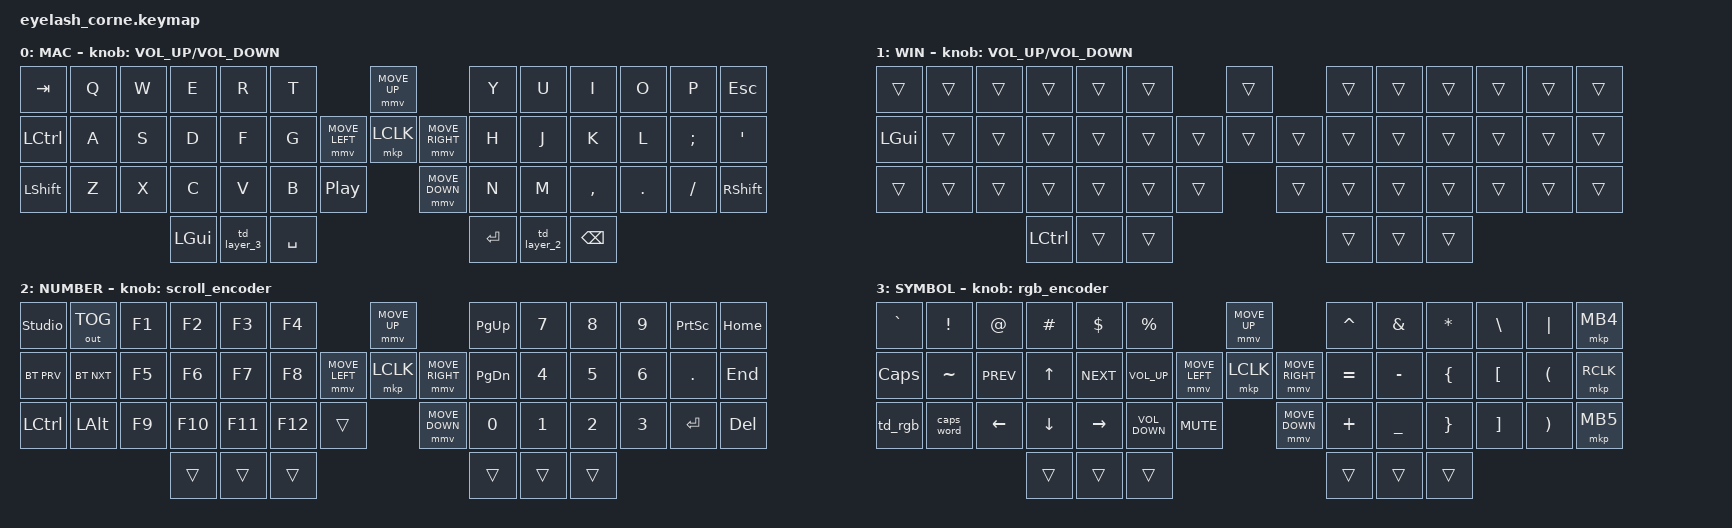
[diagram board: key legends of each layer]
#define ZMK_POINTING_DEFAULT_MOVE_VAL 1200  // 600
#define ZMK_POINTING_DEFAULT_SCRL_VAL 25   // 10

#include <input/processors.dtsi>
#include <zephyr/dt-bindings/input/input-event-codes.h>
#include <behaviors.dtsi>
#include <dt-bindings/zmk/bt.h>
#include <dt-bindings/zmk/keys.h>
#include <dt-bindings/zmk/outputs.h>
#include <dt-bindings/zmk/pointing.h>
#include <dt-bindings/zmk/rgb.h>

&mmv_input_listener { input-processors = <&zip_xy_scaler 2 1>; };

&msc_input_listener { input-processors = <&zip_scroll_scaler 2 1>; };

&msc {
    acceleration-exponent = <1>;      // 0
    time-to-max-speed-ms = <100>;       // 300
    delay-ms = <0>;                   // 0
};

&mmv {
    time-to-max-speed-ms = <500>;
    acceleration-exponent = <1>;
    trigger-period-ms = <16>;
};

/ {
    behaviors {
        td_rgb: td_rgb {
            compatible = "zmk,behavior-tap-dance";
            display-name = "Shift/Caps Lock Tap Dance";
            #binding-cells = <0>;
            bindings = <&rgb_ug RGB_TOG>, <&rgb_ug RGB_EFF>;

            label = "TD_RGB";
            tapping-term-ms = <250>;
        };

        td_layer_2: td_layer_2 {
            compatible = "zmk,behavior-tap-dance";
            label = "TD_LAYER_2";
            #binding-cells = <0>;
            bindings = <&mo 2>, <&tog 2>;

            tapping-term-ms = <250>;
        };

        td_layer_3: td_layer_3 {
            compatible = "zmk,behavior-tap-dance";
            label = "TD_LAYER_3";
            #binding-cells = <0>;
            bindings = <&mo 3>, <&tog 3>;

            tapping-term-ms = <250>;
        };
    };

    rgb_encoder: rgb_encoder {
        compatible = "zmk,behavior-sensor-rotate";
        #sensor-binding-cells = <0>;
        bindings = <&rgb_ug RGB_BRI>, <&rgb_ug RGB_BRD>;
    };

    scroll_encoder: scroll_encoder {
        compatible = "zmk,behavior-sensor-rotate";
        #sensor-binding-cells = <0>;
        bindings = <&msc SCRL_DOWN>, <&msc SCRL_UP>;

        tap-ms = <100>;
    };

    combos {
        compatible = "zmk,combos";

        OS-Toggle {
            bindings = <&tog 1>;
            key-positions = <46 43>;
        };

        Clear-All-BT {
            bindings = <&bt BT_CLR_ALL>;
            key-positions = <20 46>;
        };
    };

    keymap {
        compatible = "zmk,keymap";

        default_layer {
            display-name = "MAC";
            bindings = <
&kp TAB    &kp Q  &kp W  &kp E     &kp R        &kp T                                          &mmv MOVE_UP                     &kp Y      &kp U        &kp I          &kp O    &kp P     &kp ESC
&kp LCTRL  &kp A  &kp S  &kp D     &kp F        &kp G                          &mmv MOVE_LEFT  &mkp LCLK       &mmv MOVE_RIGHT  &kp H      &kp J        &kp K          &kp L    &kp SEMI  &kp SQT
&kp LSHFT  &kp Z  &kp X  &kp C     &kp V        &kp B      &kp C_PLAY_PAUSE                    &mmv MOVE_DOWN                   &kp N      &kp M        &kp COMMA      &kp DOT  &kp FSLH  &kp RIGHT_SHIFT
                         &kp LGUI  &td_layer_3  &kp SPACE                                                                       &kp ENTER  &td_layer_2  &kp BACKSPACE
            >;

            sensor-bindings = <&inc_dec_kp C_VOLUME_UP C_VOLUME_DOWN>;
        };

        win_layer {
            display-name = "WIN";
            bindings = <
&trans    &trans  &trans  &trans            &trans  &trans                    &trans          &trans  &trans  &trans  &trans  &trans  &trans
&kp LGUI  &trans  &trans  &trans            &trans  &trans            &trans  &trans  &trans  &trans  &trans  &trans  &trans  &trans  &trans
&trans    &trans  &trans  &trans            &trans  &trans  &trans            &trans          &trans  &trans  &trans  &trans  &trans  &trans
                          &kp LEFT_CONTROL  &trans  &trans                                    &trans  &trans  &trans
            >;

            sensor-bindings = <&inc_dec_kp C_VOLUME_UP C_VOLUME_DOWN>;
        };

        lower_layer {
            display-name = "NUMBER";
            bindings = <
&studio_unlock  &out OUT_TOG  &kp F1  &kp F2   &kp F3   &kp F4                             &mmv MOVE_UP                     &kp PG_UP  &kp N7  &kp N8  &kp N9  &kp PRINTSCREEN  &kp HOME
&bt BT_PRV      &bt BT_NXT    &kp F5  &kp F6   &kp F7   &kp F8             &mmv MOVE_LEFT  &mkp LCLK       &mmv MOVE_RIGHT  &kp PG_DN  &kp N4  &kp N5  &kp N6  &kp PERIOD       &kp END
&kp LCTRL       &kp LALT      &kp F9  &kp F10  &kp F11  &kp F12  &trans                    &mmv MOVE_DOWN                   &kp N0     &kp N1  &kp N2  &kp N3  &kp ENTER        &kp DEL
                                      &trans   &trans   &trans                                                              &trans     &trans  &trans
            >;

            sensor-bindings = <&scroll_encoder>;
        };

        raise_layer {
            display-name = "SYMBOL";
            bindings = <
&kp GRAVE     &kp EXCL    &kp AT      &kp HASH  &kp DOLLAR  &kp PERCENT                                      &mmv MOVE_UP                     &kp CARET  &kp AMPS   &kp ASTERISK     &kp BACKSLASH      &kp PIPE               &mkp MB4
&kp CAPSLOCK  &kp TILDE   &kp C_PREV  &kp UP    &kp C_NEXT  &kp C_VOLUME_UP                  &mmv MOVE_LEFT  &mkp LCLK       &mmv MOVE_RIGHT  &kp EQUAL  &kp MINUS  &kp LEFT_BRACE   &kp LEFT_BRACKET   &kp LEFT_PARENTHESIS   &mkp RCLK
&td_rgb       &caps_word  &kp LEFT    &kp DOWN  &kp RIGHT   &kp C_VOLUME_DOWN  &kp C_MUTE                    &mmv MOVE_DOWN                   &kp PLUS   &kp UNDER  &kp RIGHT_BRACE  &kp RIGHT_BRACKET  &kp RIGHT_PARENTHESIS  &mkp MB5
                                      &trans    &trans      &trans                                                                            &trans     &trans     &trans
            >;

            sensor-bindings = <&rgb_encoder>;
        };
    };
};
